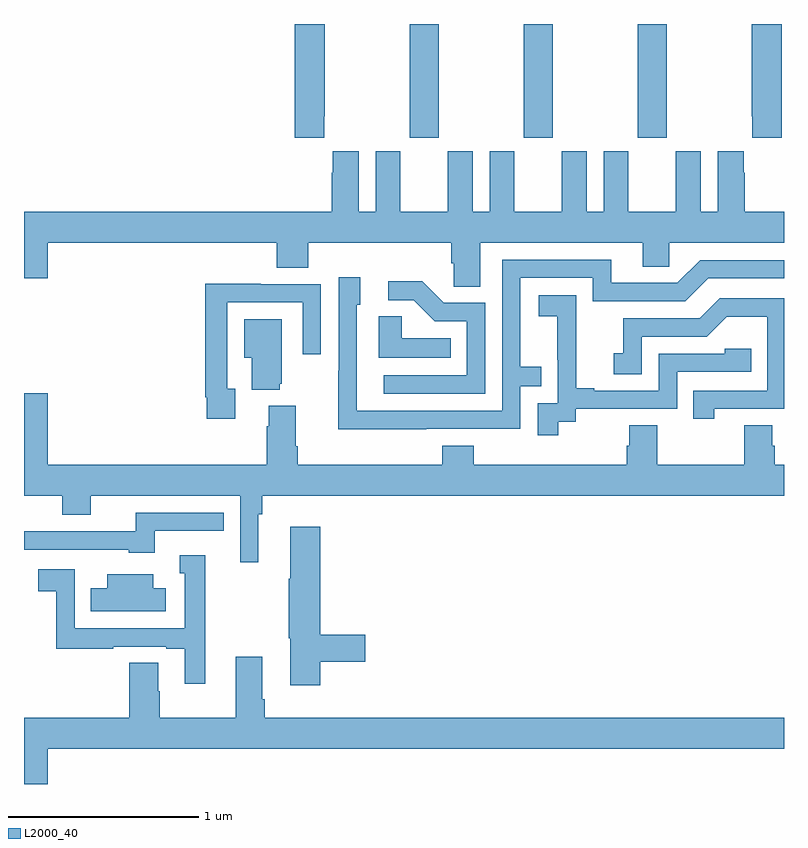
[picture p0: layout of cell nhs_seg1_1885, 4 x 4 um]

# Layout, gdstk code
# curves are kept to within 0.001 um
import gdstk
lib = gdstk.Library(unit=1e-6, precision=1e-09)
def R(c, l, rs):  # rectangles x0, y0, x1, y1
    for r in rs: c.add(gdstk.rectangle(r[:2], r[2:], *l))
def A(c, l, x, y, w, h, nx, ny, dx, dy):  # array of equal rectangles
    R(c, l, [(x+i*dx, y+j*dy, x+i*dx+w, y+j*dy+h) for i in range(nx) for j in range(ny)])
def P(c, l, *ps):  # polygons
    for p in ps: c.add(gdstk.Polygon(p, *l))
L2000_40 = (2000, 40)

nhs_seg1_1885 = lib.new_cell('nhs_seg1_1885')
A(nhs_seg1_1885, L2000_40, 215.029, 569.601, 0.155, 0.598, 3, 1, 0.6, 0)
P(nhs_seg1_1885, L2000_40, [(216.989,570.199),(216.829,570.199),(216.829,569.713),(216.833,569.713),(216.833,569.601),(216.989,569.601)],
  [(214.579,569.713),(214.584,569.713),(214.584,570.199),(214.424,570.199),(214.424,569.601),(214.579,569.601)],
  [(215.401,569.048),(216.257,569.048),(216.257,568.921),(216.396,568.921),(216.396,569.048),(217,569.048),(217,569.212),(216.794,569.212),(216.794,569.417),(216.787,569.417),(216.787,569.53),(216.65,569.53),(216.65,569.212),(216.562,569.212),(216.562,569.53),(216.431,569.53),(216.431,569.212),(216.181,569.212),(216.181,569.53),(216.05,569.53),(216.05,569.212),(215.962,569.212),(215.962,569.53),(215.831,569.53),(215.831,569.212),(215.581,569.212),(215.581,569.53),(215.45,569.53),(215.45,569.212),(215.362,569.212),(215.362,569.53),(215.231,569.53),(215.231,569.212),(214.981,569.212),(214.981,569.53),(214.85,569.53),(214.85,569.212),(214.762,569.212),(214.762,569.53),(214.625,569.53),(214.625,569.417),(214.619,569.417),(214.619,569.212),(213,569.212),(213,568.86),(213.124,568.86),(213.124,569.048),(214.331,569.048),(214.331,568.915),(214.496,568.915),(214.496,569.048),(215.249,569.048),(215.249,568.939),(215.262,568.939),(215.262,568.816),(215.401,568.816)],
  [(215.117,568.068),(215.613,568.068),(215.613,568.293),(215.723,568.293),(215.723,568.394),(215.613,568.394),(215.613,568.863),(215.994,568.863),(215.994,568.74),(216.48,568.74),(216.6,568.86),(217,568.86),(217,568.956),(216.558,568.956),(216.438,568.836),(216.091,568.836),(216.091,568.959),(215.517,568.959),(215.517,568.164),(214.752,568.164),(214.752,568.722),(214.771,568.722),(214.771,568.867),(214.656,568.867),(214.656,568.373),(214.654,568.373),(214.654,568.067)],
  [(215.427,568.731),(215.208,568.731),(215.095,568.844),(214.917,568.844),(214.917,568.746),(215.051,568.746),(215.162,568.635),(215.331,568.635),(215.331,568.35),(214.893,568.35),(214.893,568.254),(215.427,568.254)],
  [(214.111,568.278),(214.071,568.278),(214.071,568.734),(214.467,568.734),(214.467,568.461),(214.563,568.461),(214.563,568.83),(214.247,568.83),(214.247,568.832),(213.955,568.832),(213.955,568.234),(213.963,568.234),(213.963,568.122),(214.111,568.122)],
  [(215.812,568.105),(215.904,568.105),(215.904,568.173),(216.438,568.173),(216.438,568.368),(216.827,568.368),(216.827,568.491),(216.687,568.491),(216.687,568.464),(216.342,568.464),(216.342,568.269),(216.001,568.269),(216.001,568.282),(215.906,568.282),(215.906,568.565),(215.907,568.565),(215.907,568.771),(215.709,568.771),(215.709,568.661),(215.807,568.661),(215.807,568.433),(215.808,568.433),(215.808,568.203),(215.703,568.203),(215.703,568.035),(215.812,568.035)],
  [(216.634,568.173),(217,568.173),(217,568.755),(216.662,568.755),(216.557,568.65),(216.154,568.65),(216.154,568.465),(216.105,568.465),(216.105,568.356),(216.252,568.356),(216.252,568.554),(216.594,568.554),(216.698,568.658),(216.912,568.658),(216.912,568.269),(216.523,568.269),(216.523,568.122),(216.634,568.122)],
  [(215.246,568.546),(214.989,568.546),(214.989,568.661),(214.868,568.661),(214.868,568.442),(215.246,568.442)],
  [(214.346,568.305),(214.357,568.305),(214.357,568.645),(214.16,568.645),(214.16,568.442),(214.199,568.442),(214.199,568.274),(214.346,568.274)],
  [(214.234,567.62),(214.253,567.62),(214.253,567.716),(217,567.716),(217,567.88),(216.95,567.88),(216.95,567.978),(216.937,567.978),(216.937,568.088),(216.79,568.088),(216.79,567.88),(216.333,567.88),(216.333,568.088),(216.185,568.088),(216.185,567.978),(216.173,567.978),(216.173,567.88),(215.366,567.88),(215.366,567.979),(215.201,567.979),(215.201,567.88),(214.442,567.88),(214.442,567.976),(214.429,567.976),(214.429,568.189),(214.289,568.189),(214.289,568.082),(214.277,568.082),(214.277,567.88),(213.124,567.88),(213.124,568.255),(213,568.255),(213,567.716),(213.2,567.716),(213.2,567.617),(213.352,567.617),(213.352,567.716),(214.137,567.716),(214.137,567.366),(214.234,567.366)],
  [(213.688,567.531),(214.052,567.531),(214.052,567.627),(213.589,567.627),(213.589,567.528),(213.116,567.528),(213.116,567.53),(213,567.53),(213,567.432),(213.552,567.432),(213.552,567.416),(213.688,567.416)],
  [(214.559,566.842),(214.795,566.842),(214.795,566.984),(214.559,566.984),(214.559,567.553),(214.4,567.553),(214.4,567.278),(214.393,567.278),(214.393,566.967),(214.4,566.967),(214.4,566.718),(214.559,566.718)],
  [(213.955,567.403),(213.821,567.403),(213.821,567.309),(213.846,567.309),(213.846,567.018),(213.267,567.018),(213.267,567.33),(213.075,567.33),(213.075,567.214),(213.169,567.214),(213.169,566.91),(213.47,566.91),(213.47,566.922),(213.749,566.922),(213.749,566.91),(213.845,566.91),(213.845,566.727),(213.955,566.727)],
  [(213.745,567.229),(213.679,567.229),(213.679,567.304),(213.437,567.304),(213.437,567.229),(213.352,567.229),(213.352,567.107),(213.745,567.107)],
  [(213.124,566.384),(217,566.384),(217,566.548),(214.268,566.548),(214.268,566.644),(214.255,566.644),(214.255,566.869),(214.115,566.869),(214.115,566.548),(213.714,566.548),(213.714,566.687),(213.706,566.687),(213.706,566.837),(213.554,566.837),(213.554,566.548),(213,566.548),(213,566.199),(213.124,566.199)])

lib.write_gds('nhs_seg1_1885.gds')
